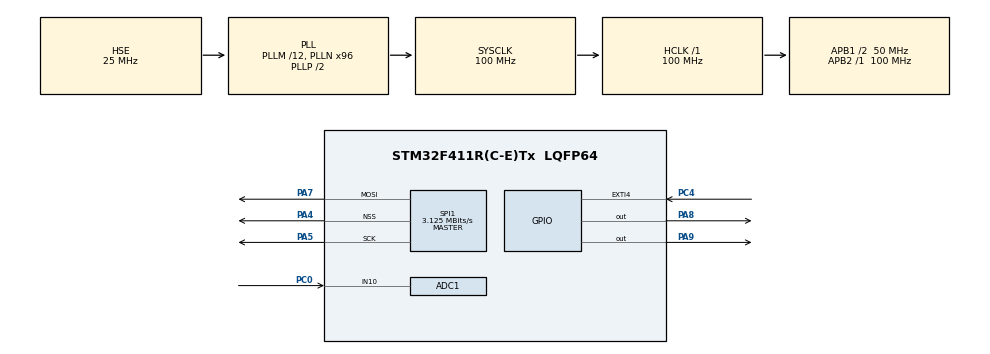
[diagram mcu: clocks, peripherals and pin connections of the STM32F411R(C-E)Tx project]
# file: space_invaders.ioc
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ADC1.Channel-4\#ChannelRegularConversion=ADC_CHANNEL_10
ADC1.ContinuousConvMode=DISABLE
ADC1.DMAContinuousRequests=ENABLE
ADC1.EOCSelection=ADC_EOC_SEQ_CONV
ADC1.ExternalTrigConv=ADC_EXTERNALTRIGCONV_T2_TRGO
ADC1.NbrOfConversion=1
ADC1.NbrOfConversionFlag=1
ADC1.Rank-4\#ChannelRegularConversion=1
ADC1.SamplingTime-4\#ChannelRegularConversion=ADC_SAMPLETIME_3CYCLES
ADC1.master=1
Dma.ADC1.1.Direction=DMA_PERIPH_TO_MEMORY
Dma.ADC1.1.FIFOMode=DMA_FIFOMODE_DISABLE
Dma.ADC1.1.Instance=DMA2_Stream0
Dma.ADC1.1.MemDataAlignment=DMA_MDATAALIGN_HALFWORD
Dma.ADC1.1.MemInc=DMA_MINC_DISABLE
Dma.ADC1.1.Mode=DMA_CIRCULAR
Dma.ADC1.1.PeriphDataAlignment=DMA_PDATAALIGN_HALFWORD
Dma.ADC1.1.PeriphInc=DMA_PINC_DISABLE
Dma.ADC1.1.Priority=DMA_PRIORITY_LOW
Dma.Request0=SPI1_TX
Dma.Request1=ADC1
Dma.SPI1_TX.0.Direction=DMA_MEMORY_TO_PERIPH
Dma.SPI1_TX.0.FIFOMode=DMA_FIFOMODE_ENABLE
Dma.SPI1_TX.0.FIFOThreshold=DMA_FIFO_THRESHOLD_FULL
Dma.SPI1_TX.0.Instance=DMA2_Stream2
Dma.SPI1_TX.0.MemBurst=DMA_MBURST_INC16
Dma.SPI1_TX.0.MemDataAlignment=DMA_MDATAALIGN_BYTE
Dma.SPI1_TX.0.MemInc=DMA_MINC_ENABLE
Dma.SPI1_TX.0.Mode=DMA_NORMAL
Dma.SPI1_TX.0.PeriphBurst=DMA_PBURST_SINGLE
Dma.SPI1_TX.0.PeriphDataAlignment=DMA_PDATAALIGN_BYTE
Dma.SPI1_TX.0.PeriphInc=DMA_PINC_DISABLE
Dma.SPI1_TX.0.Priority=DMA_PRIORITY_VERY_HIGH
Mcu.Family=STM32F4
Mcu.Name=STM32F411R(C-E)Tx
Mcu.Package=LQFP64
NVIC.DMA2_Stream0_IRQn=true\:0\:0\:false\:false\:true\:false\:true
NVIC.DMA2_Stream2_IRQn=true\:0\:0\:false\:false\:true\:false\:true
NVIC.EXTI4_IRQn=true\:0\:0\:false\:false\:true\:true\:true
NVIC.PriorityGroup=NVIC_PRIORITYGROUP_4
NVIC.TIM5_IRQn=true\:15\:0\:false\:false\:true\:false\:true
NVIC.TimeBase=TIM5_IRQn
NVIC.TimeBaseIP=TIM5
PA4.Mode=NSS_Signal_Hard_Output
PA4.Signal=SPI1_NSS
PA5.Mode=TX_Only_Simplex_Unidirect_Master
PA5.Signal=SPI1_SCK
PA7.Mode=TX_Only_Simplex_Unidirect_Master
PA7.Signal=SPI1_MOSI
PA8.Signal=GPIO_Output
PA9.Signal=GPIO_Output
PC0.Signal=ADCx_IN10
PC4.GPIO_ModeDefaultEXTI=GPIO_MODE_IT_FALLING
PC4.GPIO_PuPd=GPIO_PULLUP
PC4.Signal=GPXTI4
PH0\ -\ OSC_IN.Mode=HSE-External-Oscillator
PH0\ -\ OSC_IN.Signal=RCC_OSC_IN
PH1\ -\ OSC_OUT.Mode=HSE-External-Oscillator
PH1\ -\ OSC_OUT.Signal=RCC_OSC_OUT
ProjectManager.HeapSize=0x200
ProjectManager.StackSize=0x400
ProjectManager.TargetToolchain=STM32CubeIDE
RCC.48MHZClocksFreq_Value=50000000
RCC.AHBFreq_Value=100000000
RCC.APB1CLKDivider=RCC_HCLK_DIV2
RCC.APB1Freq_Value=50000000
RCC.APB1TimFreq_Value=100000000
RCC.APB2Freq_Value=100000000
RCC.APB2TimFreq_Value=100000000
RCC.CortexFreq_Value=100000000
RCC.HCLKFreq_Value=100000000
RCC.HSE_VALUE=25000000
RCC.HSI_VALUE=16000000
RCC.LSE_VALUE=32768
RCC.PLLM=12
RCC.PLLN=96
RCC.PLLSourceVirtual=RCC_PLLSOURCE_HSE
RCC.SYSCLKFreq_VALUE=100000000
RCC.SYSCLKSource=RCC_SYSCLKSOURCE_PLLCLK
RCC.VCOOutputFreq_Value=200000000
SH.ADCx_IN10.0=ADC1_IN10,IN10
SPI1.BaudRatePrescaler=SPI_BAUDRATEPRESCALER_32
SPI1.CalculateBaudRate=3.125 MBits/s
SPI1.Direction=SPI_DIRECTION_2LINES
SPI1.FirstBit=SPI_FIRSTBIT_MSB
SPI1.Mode=SPI_MODE_MASTER
SPI1.VirtualNSS=VM_NSSHARD
SPI1.VirtualType=VM_MASTER
TIM2.AutoReloadPreload=TIM_AUTORELOAD_PRELOAD_DISABLE
TIM2.CounterMode=TIM_COUNTERMODE_UP
TIM2.Period=100-1
TIM2.Prescaler=1000-1
TIM2.TIM_MasterOutputTrigger=TIM_TRGO_UPDATE
TIM2.TIM_MasterSlaveMode=TIM_MASTERSLAVEMODE_DISABLE
VP_SYS_VS_tim5.Mode=TIM5
VP_TIM2_VS_ClockSourceINT.Mode=Internal
board=custom

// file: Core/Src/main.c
/* USER CODE BEGIN Header */
/**
  ******************************************************************************
  * @file           : main.c
  * @brief          : Main program body
  ******************************************************************************
  * @attention
  *
  * <h2><center>&copy; Copyright (c) 2023 STMicroelectronics.
  * All rights reserved.</center></h2>
  *
  * This software component is licensed by ST under BSD 3-Clause license,
  * the "License"; You may not use this file except in compliance with the
  * License. You may obtain a copy of the License at:
  *                        opensource.org/licenses/BSD-3-Clause
  *
  ******************************************************************************
  */
/* USER CODE END Header */
#include "main.h"

/* USER CODE BEGIN Includes */
#include "nokia5110.h"
#include "random.h"
/* USER CODE END Includes */

ADC_HandleTypeDef hadc1;
DMA_HandleTypeDef hdma_adc1;

SPI_HandleTypeDef hspi1;
DMA_HandleTypeDef hdma_spi1_tx;

TIM_HandleTypeDef htim2;

/* USER CODE BEGIN PV */
volatile uint8_t txCmpltFlag = 1;

// image of the player's ship
// includes two blacked out columns on the left and right sides of the image to prevent smearing when moved 2 pixels to the left or right
// width=18 x height=8
const uint8_t PlayerShip0[] = {
 0x42, 0x4D, 0xD6, 0x00, 0x00, 0x00, 0x00, 0x00, 0x00, 0x00, 0x76, 0x00, 0x00, 0x00, 0x28, 0x00, 0x00, 0x00, 0x12, 0x00, 0x00, 0x00, 0x08, 0x00, 0x00, 0x00, 0x01, 0x00, 0x04, 0x00, 0x00, 0x00,
 0x00, 0x00, 0x60, 0x00, 0x00, 0x00, 0xC4, 0x0E, 0x00, 0x00, 0xC4, 0x0E, 0x00, 0x00, 0x00, 0x00, 0x00, 0x00, 0x00, 0x00, 0x00, 0x00, 0x00, 0x00, 0x00, 0x00, 0x00, 0x00, 0x80, 0x00, 0x00, 0x80,
 0x00, 0x00, 0x00, 0x80, 0x80, 0x00, 0x80, 0x00, 0x00, 0x00, 0x80, 0x00, 0x80, 0x00, 0x80, 0x80, 0x00, 0x00, 0x80, 0x80, 0x80, 0x00, 0xC0, 0xC0, 0xC0, 0x00, 0x00, 0x00, 0xFF, 0x00, 0x00, 0xFF,
 0x00, 0x00, 0x00, 0xFF, 0xFF, 0x00, 0xFF, 0x00, 0x00, 0x00, 0xFF, 0x00, 0xFF, 0x00, 0xFF, 0xFF, 0x00, 0x00, 0xFF, 0xFF, 0xFF, 0x00, 0x00, 0xAA, 0xAA, 0xAA, 0xAA, 0xAA, 0xAA, 0xAA, 0x00, 0x00,
 0x00, 0x00, 0x00, 0xAA, 0xAA, 0xAA, 0xAA, 0xAA, 0xAA, 0xAA, 0x00, 0x00, 0x00, 0x00, 0x00, 0xAA, 0xAA, 0xAA, 0xAA, 0xAA, 0xAA, 0xAA, 0x00, 0x00, 0x00, 0x00, 0x00, 0x0A, 0xAA, 0xAA, 0xAA, 0xAA,
 0xAA, 0xA0, 0x00, 0x00, 0x00, 0x00, 0x00, 0x00, 0x00, 0x0A, 0xAA, 0xA0, 0x00, 0x00, 0x00, 0x00, 0x00, 0x00, 0x00, 0x00, 0x00, 0x0A, 0xAA, 0xA0, 0x00, 0x00, 0x00, 0x00, 0x00, 0x00, 0x00, 0x00,
 0x00, 0x00, 0xAA, 0x00, 0x00, 0x00, 0x00, 0x00, 0x00, 0x00, 0x00, 0x00, 0x00, 0x00, 0x00, 0x00, 0x00, 0x00, 0x00, 0x00, 0x00, 0x00, 0xFF};

// a laser burst in flight
// includes one blacked out row on the top and bottom of the image to prevent smearing when moved 1 pixel up or down
// width=2 x height=9
const uint8_t Laser0[] = {
 0x42, 0x4D, 0x9A, 0x00, 0x00, 0x00, 0x00, 0x00, 0x00, 0x00, 0x76, 0x00, 0x00, 0x00, 0x28, 0x00, 0x00, 0x00, 0x02, 0x00, 0x00, 0x00, 0x09, 0x00, 0x00, 0x00, 0x01, 0x00, 0x04, 0x00, 0x00, 0x00,
 0x00, 0x00, 0x24, 0x00, 0x00, 0x00, 0x00, 0x00, 0x00, 0x00, 0x00, 0x00, 0x00, 0x00, 0x00, 0x00, 0x00, 0x00, 0x00, 0x00, 0x00, 0x00, 0x00, 0x00, 0x00, 0x00, 0x00, 0x00, 0x80, 0x00, 0x00, 0x80,
 0x00, 0x00, 0x00, 0x80, 0x80, 0x00, 0x80, 0x00, 0x00, 0x00, 0x80, 0x00, 0x80, 0x00, 0x80, 0x80, 0x00, 0x00, 0x80, 0x80, 0x80, 0x00, 0xC0, 0xC0, 0xC0, 0x00, 0x00, 0x00, 0xFF, 0x00, 0x00, 0xFF,
 0x00, 0x00, 0x00, 0xFF, 0xFF, 0x00, 0xFF, 0x00, 0x00, 0x00, 0xFF, 0x00, 0xFF, 0x00, 0xFF, 0xFF, 0x00, 0x00, 0xFF, 0xFF, 0xFF, 0x00, 0x00, 0x00, 0x00, 0x00, 0x99, 0x00, 0x00, 0x00, 0xBB, 0x00,
 0x00, 0x00, 0xAA, 0x00, 0x00, 0x00, 0xFF, 0x00, 0x00, 0x00, 0xFF, 0x00, 0x00, 0x00, 0xFF, 0x00, 0x00, 0x00, 0xFF, 0x00, 0x00, 0x00, 0x00, 0x00, 0x00, 0x00, 0xFF};

// small shield floating in space to cover the player's ship from enemy fire (undamaged)
// width=18 x height=5
const uint8_t Bunker0[] = {
 0x42, 0x4D, 0xB2, 0x00, 0x00, 0x00, 0x00, 0x00, 0x00, 0x00, 0x76, 0x00, 0x00, 0x00, 0x28, 0x00, 0x00, 0x00, 0x12, 0x00, 0x00, 0x00, 0x05, 0x00, 0x00, 0x00, 0x01, 0x00, 0x04, 0x00, 0x00, 0x00,
 0x00, 0x00, 0x3C, 0x00, 0x00, 0x00, 0xC4, 0x0E, 0x00, 0x00, 0xC4, 0x0E, 0x00, 0x00, 0x00, 0x00, 0x00, 0x00, 0x00, 0x00, 0x00, 0x00, 0x00, 0x00, 0x00, 0x00, 0x00, 0x00, 0x80, 0x00, 0x00, 0x80,
 0x00, 0x00, 0x00, 0x80, 0x80, 0x00, 0x80, 0x00, 0x00, 0x00, 0x80, 0x00, 0x80, 0x00, 0x80, 0x80, 0x00, 0x00, 0x80, 0x80, 0x80, 0x00, 0xC0, 0xC0, 0xC0, 0x00, 0x00, 0x00, 0xFF, 0x00, 0x00, 0xFF,
 0x00, 0x00, 0x00, 0xFF, 0xFF, 0x00, 0xFF, 0x00, 0x00, 0x00, 0xFF, 0x00, 0xFF, 0x00, 0xFF, 0xFF, 0x00, 0x00, 0xFF, 0xFF, 0xFF, 0x00, 0xAA, 0xAA, 0x00, 0x00, 0x00, 0x00, 0x00, 0xAA, 0xAA, 0x00,
 0x00, 0x00, 0xAA, 0xAA, 0xA0, 0x00, 0x00, 0x00, 0x0A, 0xAA, 0xAA, 0x00, 0x00, 0x00, 0xAA, 0xAA, 0xAA, 0xAA, 0xAA, 0xAA, 0xAA, 0xAA, 0xAA, 0x00, 0x00, 0x00, 0x0A, 0xAA, 0xAA, 0xAA, 0xAA, 0xAA,
 0xAA, 0xAA, 0xA0, 0x00, 0x00, 0x00, 0x00, 0xAA, 0xAA, 0xAA, 0xAA, 0xAA, 0xAA, 0xAA, 0x00, 0x00, 0x00, 0x00, 0xFF};

// enemy ship that starts at the top of the screen (arms/mouth closed)
// width=16 x height=10
const uint8_t SmallEnemy30PointA[] = {
 0x42, 0x4D, 0xC6, 0x00, 0x00, 0x00, 0x00, 0x00, 0x00, 0x00, 0x76, 0x00, 0x00, 0x00, 0x28, 0x00, 0x00, 0x00, 0x10, 0x00, 0x00, 0x00, 0x0A, 0x00, 0x00, 0x00, 0x01, 0x00, 0x04, 0x00, 0x00, 0x00,
 0x00, 0x00, 0x50, 0x00, 0x00, 0x00, 0x00, 0x00, 0x00, 0x00, 0x00, 0x00, 0x00, 0x00, 0x00, 0x00, 0x00, 0x00, 0x00, 0x00, 0x00, 0x00, 0x00, 0x00, 0x00, 0x00, 0x00, 0x00, 0x80, 0x00, 0x00, 0x80,
 0x00, 0x00, 0x00, 0x80, 0x80, 0x00, 0x80, 0x00, 0x00, 0x00, 0x80, 0x00, 0x80, 0x00, 0x80, 0x80, 0x00, 0x00, 0x80, 0x80, 0x80, 0x00, 0xC0, 0xC0, 0xC0, 0x00, 0x00, 0x00, 0xFF, 0x00, 0x00, 0xFF,
 0x00, 0x00, 0x00, 0xFF, 0xFF, 0x00, 0xFF, 0x00, 0x00, 0x00, 0xFF, 0x00, 0xFF, 0x00, 0xFF, 0xFF, 0x00, 0x00, 0xFF, 0xFF, 0xFF, 0x00, 0x00, 0x00, 0x00, 0x00, 0x00, 0x00, 0x00, 0x00, 0x00, 0x00,
 0x0F, 0x00, 0x00, 0xF0, 0x00, 0x00, 0x00, 0x00, 0xF0, 0x00, 0x00, 0x0F, 0x00, 0x00, 0x00, 0x00, 0x0F, 0x0F, 0xF0, 0xF0, 0x00, 0x00, 0x00, 0x00, 0xFF, 0xFF, 0xFF, 0xFF, 0x00, 0x00, 0x00, 0x00,
 0xFF, 0x0F, 0xF0, 0xFF, 0x00, 0x00, 0x00, 0x00, 0x0F, 0xFF, 0xFF, 0xF0, 0x00, 0x00, 0x00, 0x00, 0x00, 0xFF, 0xFF, 0x00, 0x00, 0x00, 0x00, 0x00, 0x00, 0x0F, 0xF0, 0x00, 0x00, 0x00, 0x00, 0x00,
 0x00, 0x00, 0x00, 0x00, 0x00, 0x00, 0xFF};

uint16_t adc_val[1] = {0};

uint8_t num = 0;
/* USER CODE END PV */

void SystemClock_Config(void);
static void MX_GPIO_Init(void);
static void MX_DMA_Init(void);
static void MX_SPI1_Init(void);
static void MX_ADC1_Init(void);
static void MX_TIM2_Init(void);

int main(void)
{

  /* MCU Configuration--------------------------------------------------------*/

  /* Reset of all peripherals, Initializes the Flash interface and the Systick. */
  HAL_Init();

  /* Configure the system clock */
  SystemClock_Config();

  /* Initialize all configured peripherals */
  MX_GPIO_Init();
  MX_DMA_Init();
  MX_SPI1_Init();
  MX_ADC1_Init();
  MX_TIM2_Init();
  /* USER CODE BEGIN 2 */
  Nokia5110_Init();

  Nokia5110_Clear();
  Nokia5110_SetCursor(1, 1);
  Nokia5110_PrintBMP(32, 47, SmallEnemy30PointA, 0);
  Nokia5110_DisplayBuffer();
  Nokia5110_OutString("SPACE");
  Nokia5110_OutUDec(10);

  HAL_TIM_Base_Start(&htim2);
  HAL_ADC_Start_DMA(&hadc1, (uint32_t*)adc_val, 1);

  Random_Init(27);
  num = (Random32()>>24)%100;
  /* USER CODE END 2 */

  /* Infinite loop */
  while (1)
  {

  }
}

void SystemClock_Config(void)
{
  RCC_OscInitTypeDef RCC_OscInitStruct = {0};
  RCC_ClkInitTypeDef RCC_ClkInitStruct = {0};

  /** Configure the main internal regulator output voltage
  */
  __HAL_RCC_PWR_CLK_ENABLE();
  __HAL_PWR_VOLTAGESCALING_CONFIG(PWR_REGULATOR_VOLTAGE_SCALE1);
  /** Initializes the RCC Oscillators according to the specified parameters
  * in the RCC_OscInitTypeDef structure.
  */
  RCC_OscInitStruct.OscillatorType = RCC_OSCILLATORTYPE_HSE;
  RCC_OscInitStruct.HSEState = RCC_HSE_ON;
  RCC_OscInitStruct.PLL.PLLState = RCC_PLL_ON;
  RCC_OscInitStruct.PLL.PLLSource = RCC_PLLSOURCE_HSE;
  RCC_OscInitStruct.PLL.PLLM = 12;
  RCC_OscInitStruct.PLL.PLLN = 96;
  RCC_OscInitStruct.PLL.PLLP = RCC_PLLP_DIV2;
  RCC_OscInitStruct.PLL.PLLQ = 4;
  if (HAL_RCC_OscConfig(&RCC_OscInitStruct) != HAL_OK)
  {
    Error_Handler();
  }
  /** Initializes the CPU, AHB and APB buses clocks
  */
  RCC_ClkInitStruct.ClockType = RCC_CLOCKTYPE_HCLK|RCC_CLOCKTYPE_SYSCLK
                              |RCC_CLOCKTYPE_PCLK1|RCC_CLOCKTYPE_PCLK2;
  RCC_ClkInitStruct.SYSCLKSource = RCC_SYSCLKSOURCE_PLLCLK;
  RCC_ClkInitStruct.AHBCLKDivider = RCC_SYSCLK_DIV1;
  RCC_ClkInitStruct.APB1CLKDivider = RCC_HCLK_DIV2;
  RCC_ClkInitStruct.APB2CLKDivider = RCC_HCLK_DIV1;

  if (HAL_RCC_ClockConfig(&RCC_ClkInitStruct, FLASH_LATENCY_3) != HAL_OK)
  {
    Error_Handler();
  }
}

static void MX_ADC1_Init(void)
{

  ADC_ChannelConfTypeDef sConfig = {0};

  /** Configure the global features of the ADC (Clock, Resolution, Data Alignment and number of conversion)
  */
  hadc1.Instance = ADC1;
  hadc1.Init.ClockPrescaler = ADC_CLOCK_SYNC_PCLK_DIV4;
  hadc1.Init.Resolution = ADC_RESOLUTION_12B;
  hadc1.Init.ScanConvMode = DISABLE;
  hadc1.Init.ContinuousConvMode = DISABLE;
  hadc1.Init.DiscontinuousConvMode = DISABLE;
  hadc1.Init.ExternalTrigConvEdge = ADC_EXTERNALTRIGCONVEDGE_RISING;
  hadc1.Init.ExternalTrigConv = ADC_EXTERNALTRIGCONV_T2_TRGO;
  hadc1.Init.DataAlign = ADC_DATAALIGN_RIGHT;
  hadc1.Init.NbrOfConversion = 1;
  hadc1.Init.DMAContinuousRequests = ENABLE;
  hadc1.Init.EOCSelection = ADC_EOC_SEQ_CONV;
  if (HAL_ADC_Init(&hadc1) != HAL_OK)
  {
    Error_Handler();
  }
  /** Configure for the selected ADC regular channel its corresponding rank in the sequencer and its sample time.
  */
  sConfig.Channel = ADC_CHANNEL_10;
  sConfig.Rank = 1;
  sConfig.SamplingTime = ADC_SAMPLETIME_3CYCLES;
  if (HAL_ADC_ConfigChannel(&hadc1, &sConfig) != HAL_OK)
  {
    Error_Handler();
  }

}

static void MX_SPI1_Init(void)
{

  /* SPI1 parameter configuration*/
  hspi1.Instance = SPI1;
  hspi1.Init.Mode = SPI_MODE_MASTER;
  hspi1.Init.Direction = SPI_DIRECTION_2LINES;
  hspi1.Init.DataSize = SPI_DATASIZE_8BIT;
  hspi1.Init.CLKPolarity = SPI_POLARITY_LOW;
  hspi1.Init.CLKPhase = SPI_PHASE_1EDGE;
  hspi1.Init.NSS = SPI_NSS_HARD_OUTPUT;
  hspi1.Init.BaudRatePrescaler = SPI_BAUDRATEPRESCALER_32;
  hspi1.Init.FirstBit = SPI_FIRSTBIT_MSB;
  hspi1.Init.TIMode = SPI_TIMODE_DISABLE;
  hspi1.Init.CRCCalculation = SPI_CRCCALCULATION_DISABLE;
  hspi1.Init.CRCPolynomial = 10;
  if (HAL_SPI_Init(&hspi1) != HAL_OK)
  {
    Error_Handler();
  }

}

static void MX_TIM2_Init(void)
{

  TIM_ClockConfigTypeDef sClockSourceConfig = {0};
  TIM_MasterConfigTypeDef sMasterConfig = {0};

  htim2.Instance = TIM2;
  htim2.Init.Prescaler = 1000-1;
  htim2.Init.CounterMode = TIM_COUNTERMODE_UP;
  htim2.Init.Period = 100-1;
  htim2.Init.ClockDivision = TIM_CLOCKDIVISION_DIV1;
  htim2.Init.AutoReloadPreload = TIM_AUTORELOAD_PRELOAD_DISABLE;
  if (HAL_TIM_Base_Init(&htim2) != HAL_OK)
  {
    Error_Handler();
  }
  sClockSourceConfig.ClockSource = TIM_CLOCKSOURCE_INTERNAL;
  if (HAL_TIM_ConfigClockSource(&htim2, &sClockSourceConfig) != HAL_OK)
  {
    Error_Handler();
  }
  sMasterConfig.MasterOutputTrigger = TIM_TRGO_UPDATE;
  sMasterConfig.MasterSlaveMode = TIM_MASTERSLAVEMODE_DISABLE;
  if (HAL_TIMEx_MasterConfigSynchronization(&htim2, &sMasterConfig) != HAL_OK)
  {
    Error_Handler();
  }

}

static void MX_DMA_Init(void)
{

  /* DMA controller clock enable */
  __HAL_RCC_DMA2_CLK_ENABLE();

  /* DMA interrupt init */
  /* DMA2_Stream0_IRQn interrupt configuration */
  HAL_NVIC_SetPriority(DMA2_Stream0_IRQn, 0, 0);
  HAL_NVIC_EnableIRQ(DMA2_Stream0_IRQn);
  /* DMA2_Stream2_IRQn interrupt configuration */
  HAL_NVIC_SetPriority(DMA2_Stream2_IRQn, 0, 0);
  HAL_NVIC_EnableIRQ(DMA2_Stream2_IRQn);

}

static void MX_GPIO_Init(void)
{
  GPIO_InitTypeDef GPIO_InitStruct = {0};

  /* GPIO Ports Clock Enable */
  __HAL_RCC_GPIOH_CLK_ENABLE();
  __HAL_RCC_GPIOC_CLK_ENABLE();
  __HAL_RCC_GPIOA_CLK_ENABLE();

  /*Configure GPIO pin Output Level */
  HAL_GPIO_WritePin(GPIOA, GPIO_PIN_8|GPIO_PIN_9, GPIO_PIN_RESET);

  /*Configure GPIO pin : PC4 */
  GPIO_InitStruct.Pin = GPIO_PIN_4;
  GPIO_InitStruct.Mode = GPIO_MODE_IT_FALLING;
  GPIO_InitStruct.Pull = GPIO_PULLUP;
  HAL_GPIO_Init(GPIOC, &GPIO_InitStruct);

  /*Configure GPIO pins : PA8 PA9 */
  GPIO_InitStruct.Pin = GPIO_PIN_8|GPIO_PIN_9;
  GPIO_InitStruct.Mode = GPIO_MODE_OUTPUT_PP;
  GPIO_InitStruct.Pull = GPIO_NOPULL;
  GPIO_InitStruct.Speed = GPIO_SPEED_FREQ_LOW;
  HAL_GPIO_Init(GPIOA, &GPIO_InitStruct);

  /* EXTI interrupt init*/
  HAL_NVIC_SetPriority(EXTI4_IRQn, 0, 0);
  HAL_NVIC_EnableIRQ(EXTI4_IRQn);

}

/* USER CODE BEGIN 4 */
void HAL_SPI_TxCpltCallback(SPI_HandleTypeDef *hspi)
{
	txCmpltFlag = 1;		// set the tx complete flag
}

void HAL_GPIO_EXTI_Callback(uint16_t GPIO_Pin)
{

}

void HAL_ADC_ConvCpltCallback(ADC_HandleTypeDef* hadc)
{

}
/* USER CODE END 4 */

void HAL_TIM_PeriodElapsedCallback(TIM_HandleTypeDef *htim)
{
  if (htim->Instance == TIM5) {
    HAL_IncTick();
  }
}

void Error_Handler(void)
{
  __disable_irq();
  while (1)
  {
  }
}

/************************ (C) COPYRIGHT STMicroelectronics *****END OF FILE****/
